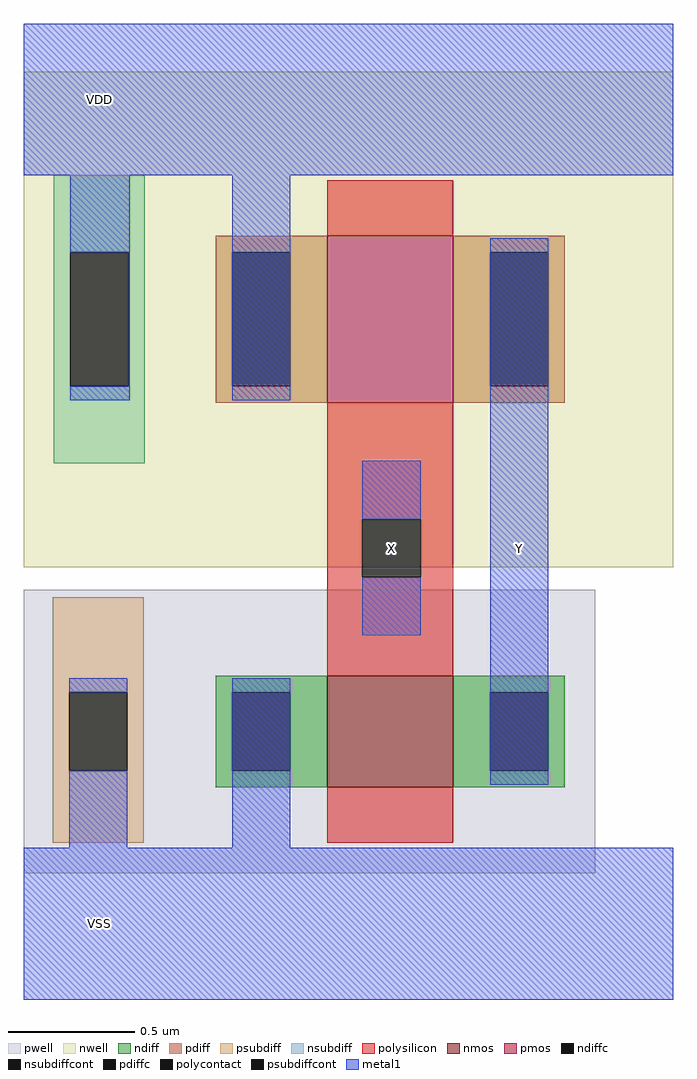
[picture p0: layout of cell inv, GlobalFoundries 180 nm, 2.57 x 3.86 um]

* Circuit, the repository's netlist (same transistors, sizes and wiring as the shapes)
** sch_path: /foss/designs/sscs_mosbius_lna/xschem/inv.sch
**.subckt inv VDD X VSS Y
*.ipin VDD
*.ipin X
*.ipin VSS
*.opin Y
XM1 Y X VSS VSS nfet_03v3 L=0.50u W=0.44u nf=1 ad='int((nf+1)/2) * W/nf * 0.18u' as='int((nf+2)/2) * W/nf * 0.18u' pd='2*int((nf+1)/2) * (W/nf + 0.18u)'
+ ps='2*int((nf+2)/2) * (W/nf + 0.18u)' nrd='0.18u / W' nrs='0.18u / W' sa=0 sb=0 sd=0 m=1
XM2 Y X VDD VDD pfet_03v3 L=0.50u W=0.66u nf=1 ad='int((nf+1)/2) * W/nf * 0.18u' as='int((nf+2)/2) * W/nf * 0.18u' pd='2*int((nf+1)/2) * (W/nf + 0.18u)'
+ ps='2*int((nf+2)/2) * (W/nf + 0.18u)' nrd='0.18u / W' nrs='0.18u / W' sa=0 sb=0 sd=0 m=1
**.ends
.end

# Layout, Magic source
magic
tech gf180mcuD
magscale 1 10
<< nwell >>
rect -67 500 50 892
<< pwell >>
rect -67 338 85 482
rect -67 258 77 338
<< psubdiff >>
rect -44 401 28 476
rect -44 339 -31 401
rect 15 339 28 401
rect -44 282 28 339
<< nsubdiff >>
rect -43 749 29 810
rect -43 643 -30 749
rect 16 643 29 749
rect -43 582 29 643
<< psubdiffcont >>
rect -31 339 15 401
<< nsubdiffcont >>
rect -30 643 16 749
<< polysilicon >>
rect 173 538 273 620
rect 173 492 201 538
rect 247 492 273 538
rect 173 441 273 492
<< polycontact >>
rect 201 492 247 538
<< metal1 >>
rect -67 810 447 930
rect -30 749 17 810
rect 16 643 17 749
rect -30 632 17 643
rect 98 632 144 810
rect 201 538 247 584
rect 201 446 247 492
rect -31 401 15 412
rect -31 278 15 339
rect 98 278 144 412
rect 302 328 348 760
rect -67 158 447 278
use nfet_03v3_P85ZLZ  nfet_03v3_P85ZLZ_0
transform 1 0 223 0 1 370
box -162 -112 162 112
use pfet_03v3_2YTUS3  pfet_03v3_2YTUS3_0
transform 1 0 223 0 1 696
box -224 -196 224 196
<< labels >>
flabel polycontact 201 492 247 538 0 FreeSans 320 0 0 0 X
port 0 nsew
flabel metal1 302 492 348 538 0 FreeSans 320 0 0 0 Y
port 1 nsew
flabel metal1 -67 810 53 930 0 FreeSans 320 0 0 0 VDD
port 2 nsew
flabel metal1 -67 158 53 278 0 FreeSans 320 0 0 0 VSS
port 4 nsew
<< end >>

# cell nfet_03v3_P85ZLZ: kit device nfet_03v3, w 0.44 l 0.5 m 1 nf 1 diffcov 100 polycov 100 guard 0 glc 1 grc 1 gtc 0 gbc 0 tbcov 100 rlcov 100 topc 0 botc 0 poverlap 0 doverlap 1 lmin 0.28 wmin 0.22 class mosfet full_metal 1 compatible {nfet_03v3 nfet_06v0 nfet_06v0_nvt}

# cell pfet_03v3_2YTUS3: kit device pfet_03v3, w 0.66 l 0.5 m 1 nf 1 diffcov 100 polycov 100 guard 0 glc 1 grc 1 gtc 0 gbc 0 tbcov 100 rlcov 100 topc 0 botc 0 poverlap 0 doverlap 1 lmin 0.28 wmin 0.22 class mosfet full_metal 0 compatible {pfet_03v3 pfet_06v0}
